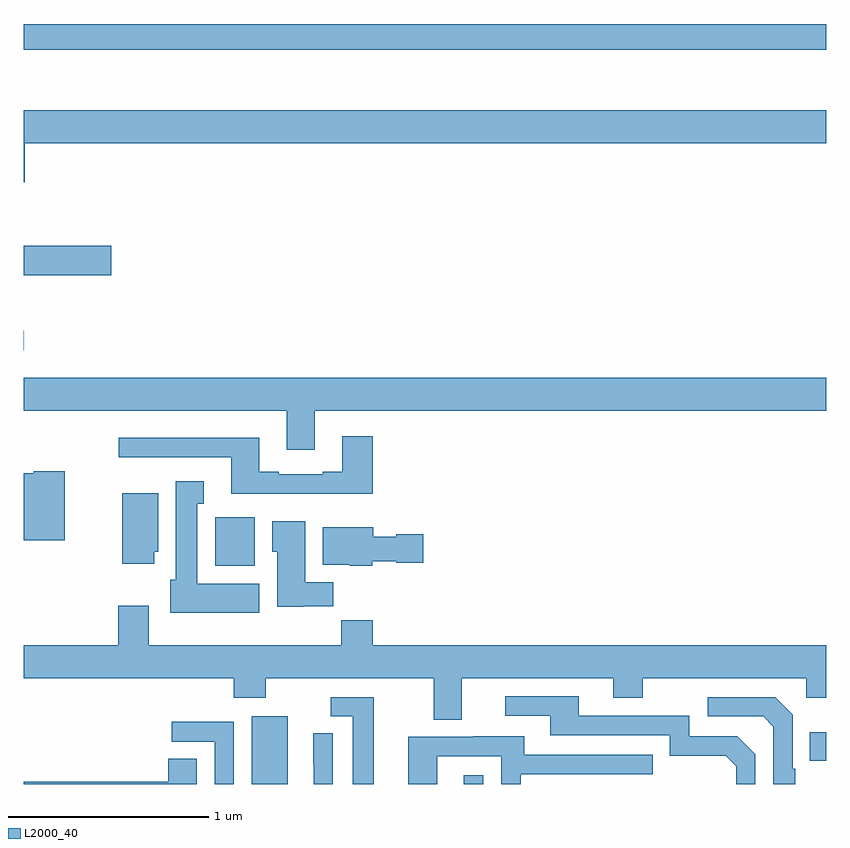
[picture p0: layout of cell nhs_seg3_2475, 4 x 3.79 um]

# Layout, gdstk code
import gdstk
lib = gdstk.Library(unit=1e-6, precision=1e-09)
def R(c, l, rs):  # rectangles x0, y0, x1, y1
    for r in rs: c.add(gdstk.rectangle(r[:2], r[2:], *l))
def P(c, l, *ps):  # polygons
    for p in ps: c.add(gdstk.Polygon(p, *l))
L2000_40 = (2000, 40)

nhs_seg3_2475 = lib.new_cell('nhs_seg3_2475')
R(nhs_seg3_2475, L2000_40, [(240.137,688.4,240.316,688.738), (241.193,688.4,241.29,688.444), (242.917,688.517,243,688.657), (239.954,689.486,240.151,689.728), (239,690.56,239.002,690.657), (239,690.935,239.437,691.082), (239,692.058,243,692.186)])
P(nhs_seg3_2475, L2000_40, [(239.006,691.592),(243,691.592),(243,691.756),(239,691.756),(239,691.398),(239.006,691.398)],
  [(240.451,690.26),(243,690.26),(243,690.424),(239,690.424),(239,690.26),(240.311,690.26),(240.311,690.066),(240.451,690.066)],
  [(240.74,690.133),(240.587,690.133),(240.587,689.956),(240.491,689.956),(240.491,689.943),(240.271,689.943),(240.271,689.956),(240.175,689.956),(240.175,690.124),(239.475,690.124),(239.475,690.027),(240.035,690.027),(240.035,689.846),(240.74,689.846)],
  [(239.206,689.959),(239.052,689.959),(239.052,689.947),(239,689.947),(239,689.615),(239.206,689.615)],
  [(240.175,689.398),(239.866,689.398),(239.866,689.795),(239.899,689.795),(239.899,689.908),(239.759,689.908),(239.759,689.418),(239.732,689.418),(239.732,689.252),(240.175,689.252)],
  [(239.65,689.556),(239.671,689.556),(239.671,689.848),(239.492,689.848),(239.492,689.496),(239.65,689.496)],
  [(240.399,689.286),(240.542,689.286),(240.542,689.404),(240.403,689.404),(240.403,689.71),(240.239,689.71),(240.239,689.556),(240.263,689.556),(240.263,689.282),(240.399,689.282)],
  [(240.738,689.51),(240.858,689.51),(240.858,689.503),(240.991,689.503),(240.991,689.645),(240.858,689.645),(240.858,689.632),(240.742,689.632),(240.742,689.68),(240.491,689.68),(240.491,689.492),(240.624,689.492),(240.624,689.486),(240.738,689.486)],
  [(240.74,689.216),(240.583,689.216),(240.583,689.092),(239.623,689.092),(239.623,689.287),(239.471,689.287),(239.471,689.092),(239,689.092),(239,688.928),(240.047,688.928),(240.047,688.829),(240.207,688.829),(240.207,688.928),(241.043,688.928),(241.043,688.72),(241.183,688.72),(241.183,688.928),(241.937,688.928),(241.937,688.829),(242.085,688.829),(242.085,688.928),(242.898,688.928),(242.898,688.829),(243,688.829),(243,689.092),(240.74,689.092)],
  [(242.646,688.548),(242.556,688.638),(242.316,688.638),(242.316,688.74),(241.765,688.74),(241.765,688.836),(241.401,688.836),(241.401,688.74),(241.625,688.74),(241.625,688.644),(242.22,688.644),(242.22,688.541),(242.497,688.541),(242.55,688.488),(242.55,688.4),(242.646,688.4)],
  [(242.845,688.477),(242.832,688.477),(242.832,688.746),(242.745,688.833),(242.409,688.833),(242.409,688.737),(242.685,688.737),(242.736,688.686),(242.736,688.4),(242.845,688.4)],
  [(240.745,688.833),(240.531,688.833),(240.531,688.737),(240.641,688.737),(240.641,688.4),(240.745,688.4)],
  [(240.048,688.71),(239.739,688.71),(239.739,688.611),(239.952,688.611),(239.952,688.4),(240.048,688.4)],
  [(240.54,688.652),(240.444,688.652),(240.444,688.498),(240.446,688.498),(240.446,688.4),(240.54,688.4)],
  [(241.062,688.539),(241.38,688.539),(241.38,688.4),(241.476,688.4),(241.476,688.449),(242.135,688.449),(242.135,688.545),(241.495,688.545),(241.495,688.639),(241.241,688.639),(241.241,688.635),(240.917,688.635),(240.917,688.4),(241.062,688.4)],
  [(239.863,688.526),(239.72,688.526),(239.72,688.412),(239,688.412),(239,688.4),(239.863,688.4)])

lib.write_gds('nhs_seg3_2475.gds')
